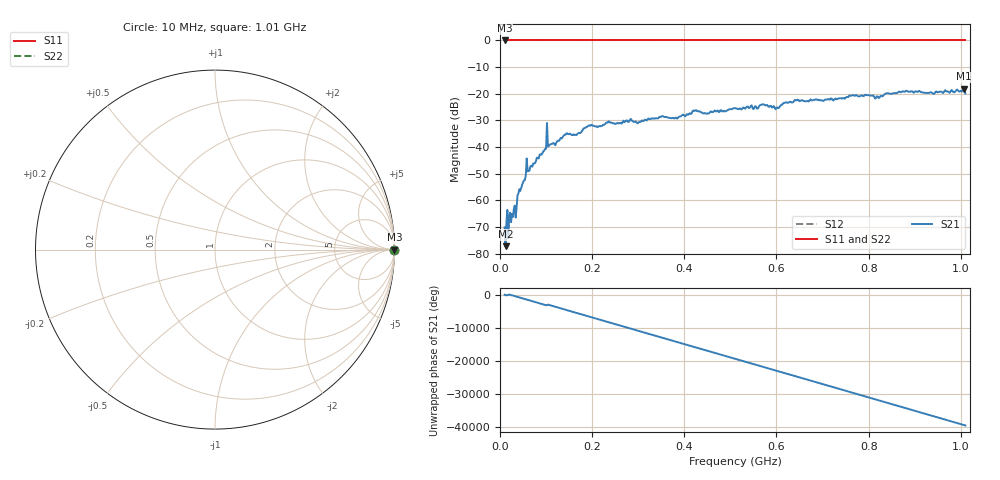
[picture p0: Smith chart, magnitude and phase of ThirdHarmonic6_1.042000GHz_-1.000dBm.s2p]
! 8/16/2025 9:04:31 AM
! C:\ANRITSUVNA\TEMP\TEMP.S2P
! CHANNEL.1
! TR.MEASUREMENT
! RAW.DATA
! RF.CORRECTION.OFF
! AVERAGING.OFF
! IF.BANDWIDTH: 5KHZ
! SWEEPTYPE:  FREQ.SWEEP(Linear)
! Reference Plane Port Info
! PORT:  PORT1  PORT2
! DISTANCE:  0  m  0  m
! TIME:  0  s  0  s
! PHASE.OFFSET:  0  deg.  0  deg.
! LOSS:  0  dB  0  dB
! REF.LOSS:  0  dB  0  dB
! REF.FREQ:  0  Hz  0  Hz
! Power Info
! POWER:  -20  dBm  -20  dBm
! EFF.POWER:  -20  dBm  -20  dBm
! SOURCE.ATTEN:  0  dB  0  dB
! TEST.ATTEN:  0  dB  0  dB
# GHZ S RI R 50.0
! FREQ.GHZ  S11RE  S11IM  S21RE  S21IM  S12RE  S12IM  S22RE  S22IM
!; PortSelection: Port_12
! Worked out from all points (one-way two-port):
!   501 points, 10 MHz to 1.01 GHz, reference 50 ohm
!   highest |S21| = -18.11 dB at 1.006 GHz (marker M1); lowest = -77.2 dB at 12 MHz (marker M2)
!   lowest |S11| = 0.0 dB at 10 MHz (marker M3)
!   |S11| at or under -10 dB: nowhere
!   |S22| runs from 0.0 to 0.0 dB; largest |S21 - S12| = 1.1
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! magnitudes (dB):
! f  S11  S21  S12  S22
! 10 MHz  0.0  -70.2  0.0  0.0
! 12 MHz  0.0  -77.2  0.0  0.0
! 14 MHz  0.0  -68.1  0.0  0.0
! 18 MHz  0.0  -74.3  0.0  0.0
! 22 MHz  0.0  -64.7  0.0  0.0
! 32 MHz  0.0  -62.0  0.0  0.0
! 42 MHz  0.0  -55.8  0.0  0.0
! 56 MHz  0.0  -50.6  0.0  0.0
! 96 MHz  0.0  -41.4  0.0  0.0
! 98 MHz  0.0  -40.7  0.0  0.0
! 178 MHz  0.0  -34.0  0.0  0.0
! 234 MHz  0.0  -30.8  0.0  0.0
! 344 MHz  0.0  -29.2  0.0  0.0
! 510 MHz  0.0  -25.4  0.0  0.0
! 570 MHz  0.0  -24.1  0.0  0.0
! 602 MHz  0.0  -25.1  0.0  0.0
! 642 MHz  0.0  -22.4  0.0  0.0
! 678 MHz  0.0  -22.4  0.0  0.0
! 818 MHz  0.0  -20.9  0.0  0.0
! 844 MHz  0.0  -19.9  0.0  0.0
! 1.006 GHz  0.0  -18.1  0.0  0.0
! 1.01 GHz  0.0  -19.9  0.0  0.0
